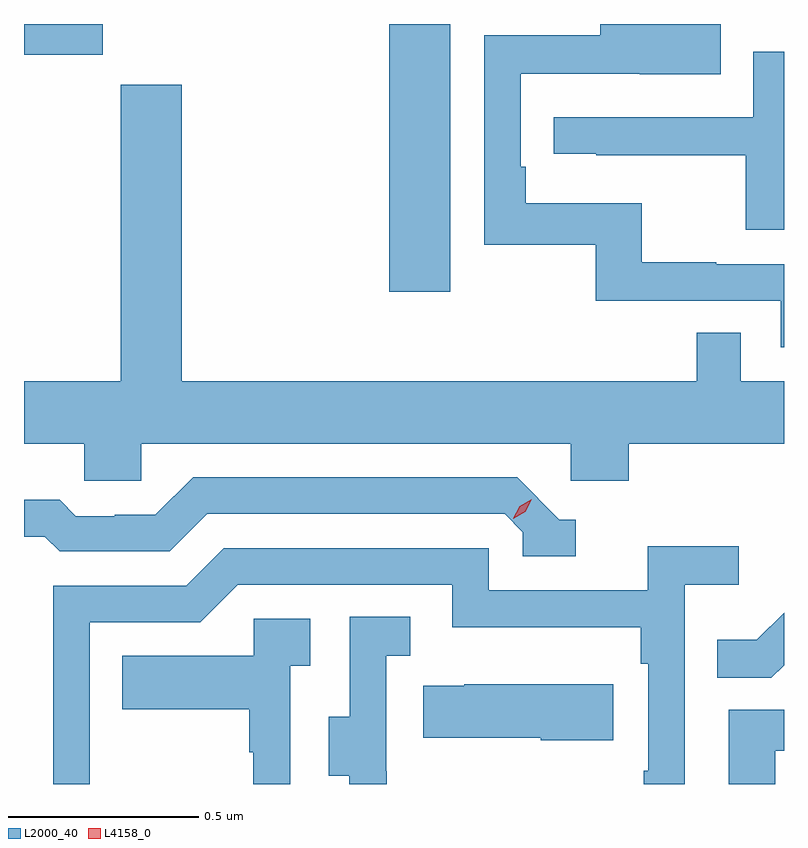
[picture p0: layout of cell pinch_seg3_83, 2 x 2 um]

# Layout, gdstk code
import gdstk
lib = gdstk.Library(unit=1e-6, precision=1e-09)
def R(c, l, rs):  # rectangles x0, y0, x1, y1
    for r in rs: c.add(gdstk.rectangle(r[:2], r[2:], *l))
def P(c, l, *ps):  # polygons
    for p in ps: c.add(gdstk.Polygon(p, *l))
L2000_40 = (2000, 40)
L4158_0 = (4158, 0)

pinch_seg3_83 = lib.new_cell('pinch_seg3_83')
R(pinch_seg3_83, L2000_40, [(1057.796,727.956,1057.957,728.66), (1056.835,728.579,1057.042,728.66)])
P(pinch_seg3_83, L2000_40, [(1058.835,728.028),(1058.657,728.028),(1058.657,728.033),(1058.461,728.033),(1058.461,728.188),(1058.156,728.188),(1058.156,728.284),(1058.142,728.284),(1058.142,728.529),(1058.455,728.529),(1058.455,728.528),(1058.669,728.528),(1058.669,728.66),(1058.351,728.66),(1058.351,728.63),(1058.046,728.63),(1058.046,728.079),(1058.34,728.079),(1058.34,727.932),(1058.826,727.932),(1058.826,727.809),(1058.835,727.809)],
  [(1058.835,728.587),(1058.754,728.587),(1058.754,728.415),(1058.229,728.415),(1058.229,728.319),(1058.341,728.319),(1058.341,728.314),(1058.734,728.314),(1058.734,728.118),(1058.835,728.118)],
  [(1057.143,727.556),(1058.274,727.556),(1058.274,727.458),(1058.426,727.458),(1058.426,727.556),(1058.835,727.556),(1058.835,727.72),(1058.721,727.72),(1058.721,727.847),(1058.605,727.847),(1058.605,727.72),(1057.25,727.72),(1057.25,728.5),(1057.09,728.5),(1057.09,727.72),(1056.835,727.72),(1056.835,727.556),(1056.993,727.556),(1056.993,727.458),(1057.143,727.458)],
  [(1058.287,727.356),(1058.244,727.356),(1058.133,727.467),(1057.28,727.467),(1057.181,727.368),(1057.074,727.368),(1057.074,727.365),(1056.971,727.365),(1056.929,727.408),(1056.835,727.408),(1056.835,727.311),(1056.89,727.311),(1056.929,727.272),(1057.218,727.272),(1057.317,727.371),(1058.1,727.371),(1058.148,727.323),(1058.148,727.26),(1058.287,727.26)],
  [(1057.008,727.086),(1057.299,727.086),(1057.398,727.185),(1057.962,727.185),(1057.962,727.073),(1058.458,727.073),(1058.458,726.977),(1058.478,726.977),(1058.478,726.695),(1058.466,726.695),(1058.466,726.66),(1058.574,726.66),(1058.574,727.184),(1058.716,727.184),(1058.716,727.286),(1058.477,727.286),(1058.477,727.17),(1058.058,727.17),(1058.058,727.281),(1057.361,727.281),(1057.262,727.182),(1056.912,727.182),(1056.912,726.66),(1057.008,726.66)],
  [(1058.835,726.973),(1058.835,727.111),(1058.763,727.039),(1058.659,727.039),(1058.659,726.94),(1058.802,726.94)],
  [(1057.79,726.693),(1057.788,726.693),(1057.788,726.997),(1057.852,726.997),(1057.852,727.1),(1057.692,727.1),(1057.692,726.837),(1057.637,726.837),(1057.637,726.682),(1057.691,726.682),(1057.691,726.66),(1057.79,726.66)],
  [(1057.536,726.971),(1057.588,726.971),(1057.588,727.095),(1057.44,727.095),(1057.44,726.997),(1057.093,726.997),(1057.093,726.857),(1057.428,726.857),(1057.428,726.743),(1057.438,726.743),(1057.438,726.66),(1057.536,726.66)],
  [(1058.386,726.922),(1057.993,726.922),(1057.993,726.919),(1057.885,726.919),(1057.885,726.782),(1058.195,726.782),(1058.195,726.775),(1058.386,726.775)],
  [(1058.812,726.747),(1058.835,726.747),(1058.835,726.855),(1058.69,726.855),(1058.69,726.66),(1058.812,726.66)])
P(pinch_seg3_83, L4158_0, [(1058.122,727.358),(1058.122,727.359),(1058.139,727.391),(1058.171,727.409),(1058.171,727.409),(1058.171,727.409),(1058.154,727.377),(1058.122,727.358)])

lib.write_gds('pinch_seg3_83.gds')
